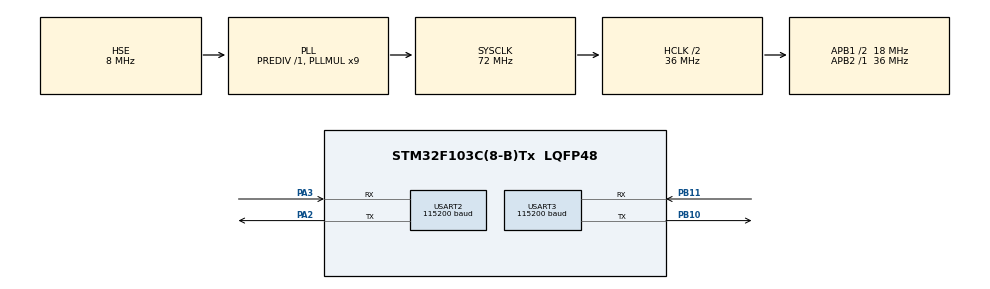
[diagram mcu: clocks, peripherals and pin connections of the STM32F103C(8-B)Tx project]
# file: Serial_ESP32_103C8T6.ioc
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Mcu.Family=STM32F1
Mcu.Name=STM32F103C(8-B)Tx
Mcu.Package=LQFP48
NVIC.PriorityGroup=NVIC_PRIORITYGROUP_4
NVIC.USART3_IRQn=true\:0\:0\:false\:false\:true\:true\:true\:true
PA13.Mode=Serial_Wire
PA13.Signal=SYS_JTMS-SWDIO
PA14.Mode=Serial_Wire
PA14.Signal=SYS_JTCK-SWCLK
PA2.Mode=Asynchronous
PA2.Signal=USART2_TX
PA3.Mode=Asynchronous
PA3.Signal=USART2_RX
PB10.Mode=Asynchronous
PB10.Signal=USART3_TX
PB11.Mode=Asynchronous
PB11.Signal=USART3_RX
PC14-OSC32_IN.Mode=LSE-External-Oscillator
PC14-OSC32_IN.Signal=RCC_OSC32_IN
PC15-OSC32_OUT.Mode=LSE-External-Oscillator
PC15-OSC32_OUT.Signal=RCC_OSC32_OUT
PD0-OSC_IN.Mode=HSE-External-Oscillator
PD0-OSC_IN.Signal=RCC_OSC_IN
PD1-OSC_OUT.Mode=HSE-External-Oscillator
PD1-OSC_OUT.Signal=RCC_OSC_OUT
ProjectManager.HeapSize=0x200
ProjectManager.StackSize=0x400
ProjectManager.TargetToolchain=STM32CubeIDE
RCC.AHBCLKDivider=RCC_SYSCLK_DIV2
RCC.AHBFreq_Value=36000000
RCC.APB1CLKDivider=RCC_HCLK_DIV2
RCC.APB1Freq_Value=18000000
RCC.APB1TimFreq_Value=36000000
RCC.APB2Freq_Value=36000000
RCC.APB2TimFreq_Value=36000000
RCC.HCLKFreq_Value=36000000
RCC.PLLMUL=RCC_PLL_MUL9
RCC.PLLSourceVirtual=RCC_PLLSOURCE_HSE
RCC.SYSCLKFreq_VALUE=72000000
RCC.SYSCLKSource=RCC_SYSCLKSOURCE_PLLCLK
RCC.USBFreq_Value=72000000
USART2.BaudRate=115200
USART2.VirtualMode=VM_ASYNC
USART3.BaudRate=115200
USART3.Mode=MODE_TX_RX
USART3.VirtualMode=VM_ASYNC
board=custom

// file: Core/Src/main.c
/* USER CODE BEGIN Header */
/**
 ******************************************************************************
 * @file           : main.c
 * @brief          : Main program body
 ******************************************************************************
 * @attention
 *
 * Copyright (c) 2025 STMicroelectronics.
 * All rights reserved.
 *
 * This software is licensed under terms that can be found in the LICENSE file
 * in the root directory of this software component.
 * If no LICENSE file comes with this software, it is provided AS-IS.
 *
 ******************************************************************************
 */
/* USER CODE END Header */
#include "main.h"

/* USER CODE BEGIN Includes */
#include<string.h>
#include<stdio.h>
#include "stm32f1xx_hal.h"
#include "stm32f1xx_hal_gpio_ex.h"
#include "stm32f1xx_hal_rcc_ex.h"
#include <stdint.h>
#include <stdlib.h>

/* USER CODE END Includes */

UART_HandleTypeDef huart2;
UART_HandleTypeDef huart3;

/* USER CODE BEGIN PV */
#define RBUF_SIZE 256
volatile uint8_t rbuf[RBUF_SIZE];
volatile uint16_t rhead = 0, rtail = 0;

uint8_t rx3_byte;
uint8_t c;
char line[32];
uint8_t idx = 0;
/* USER CODE END PV */

void SystemClock_Config(void);
static void MX_GPIO_Init(void);
static void MX_USART2_UART_Init(void);
static void MX_USART3_UART_Init(void);
void Error_Handler(void);

/* USER CODE BEGIN 0 */

static inline void rbuf_push(uint8_t b) {
	uint16_t next = (rhead + 1) & (RBUF_SIZE - 1);
	if (next != rtail) {
		rbuf[rhead] = b;
		rhead = next;
	}
}

/* Pop from main */
static inline int rbuf_pop(uint8_t *out) {
	if (rtail == rhead)
		return 0;
	*out = rbuf[rtail];
	rtail = (rtail + 1) & (RBUF_SIZE - 1);
	return 1;
}

/* UART3 RX complete callback */
void HAL_UART_RxCpltCallback(UART_HandleTypeDef *huart) {
	if (huart->Instance == USART3) {
		rbuf_push(rx3_byte);
		HAL_UART_Receive_IT(&huart3, &rx3_byte, 1);
	}
}

/* Send string to ESP32 */
void UART3_Send(char *s) {
	HAL_UART_Transmit(&huart3, (uint8_t*) s, strlen(s), HAL_MAX_DELAY);
}

/* USER CODE END 0 */

int main(void) {

	/* MCU Configuration--------------------------------------------------------*/

	/* Reset of all peripherals, Initializes the Flash interface and the Systick. */
	HAL_Init();

	/* USER CODE BEGIN Init */
	__HAL_RCC_AFIO_CLK_ENABLE();           // IMPORTANT
	// PB10/PB11 used
	/* USER CODE END Init */

	/* Configure the system clock */
	SystemClock_Config();

	/* Initialize all configured peripherals */
	MX_GPIO_Init();
	MX_USART2_UART_Init();
	MX_USART3_UART_Init();
	/* USER CODE BEGIN 2 */
	HAL_UART_Receive_IT(&huart3, &rx3_byte, 1);

	HAL_UART_Transmit(&huart2, (uint8_t*) "STM32 Ready UART3\r\n", 19,
	HAL_MAX_DELAY);
	/* USER CODE END 2 */

	/* Infinite loop */
	while (1) {

		/* USER CODE BEGIN 3 */
		while (rbuf_pop(&c)) {
			if (c == '\n') {
				line[idx] = 0;
				idx = 0;

				if (strncmp(line, "BTN:", 4) == 0) {
					int btn = atoi(&line[4]);

					char msg[32];
					sprintf(msg, "Button %d Pressed\r\n", btn);

					UART3_Send(msg);                       // to ESP32
					HAL_UART_Transmit(&huart2, (uint8_t*) msg, strlen(msg),
							HAL_MAX_DELAY);
				}
			} else if (c != '\r' && idx < sizeof(line) - 1) {
				line[idx++] = c;
			}
		}

		HAL_Delay(1);

	}
	/* USER CODE END 3 */
}

void SystemClock_Config(void) {
	RCC_OscInitTypeDef RCC_OscInitStruct = { 0 };
	RCC_ClkInitTypeDef RCC_ClkInitStruct = { 0 };

	/** Initializes the RCC Oscillators according to the specified parameters
	 * in the RCC_OscInitTypeDef structure.
	 */
	RCC_OscInitStruct.OscillatorType = RCC_OSCILLATORTYPE_HSE;
	RCC_OscInitStruct.HSEState = RCC_HSE_ON;
	RCC_OscInitStruct.HSEPredivValue = RCC_HSE_PREDIV_DIV1;
	RCC_OscInitStruct.HSIState = RCC_HSI_ON;
	RCC_OscInitStruct.PLL.PLLState = RCC_PLL_ON;
	RCC_OscInitStruct.PLL.PLLSource = RCC_PLLSOURCE_HSE;
	RCC_OscInitStruct.PLL.PLLMUL = RCC_PLL_MUL9;
	if (HAL_RCC_OscConfig(&RCC_OscInitStruct) != HAL_OK) {
		Error_Handler();
	}

	/** Initializes the CPU, AHB and APB buses clocks
	 */
	RCC_ClkInitStruct.ClockType = RCC_CLOCKTYPE_HCLK | RCC_CLOCKTYPE_SYSCLK
			| RCC_CLOCKTYPE_PCLK1 | RCC_CLOCKTYPE_PCLK2;
	RCC_ClkInitStruct.SYSCLKSource = RCC_SYSCLKSOURCE_PLLCLK;
	RCC_ClkInitStruct.AHBCLKDivider = RCC_SYSCLK_DIV2;
	RCC_ClkInitStruct.APB1CLKDivider = RCC_HCLK_DIV2;
	RCC_ClkInitStruct.APB2CLKDivider = RCC_HCLK_DIV1;

	if (HAL_RCC_ClockConfig(&RCC_ClkInitStruct, FLASH_LATENCY_2) != HAL_OK) {
		Error_Handler();
	}
}

static void MX_USART2_UART_Init(void) {

	huart2.Instance = USART2;
	huart2.Init.BaudRate = 115200;
	huart2.Init.WordLength = UART_WORDLENGTH_8B;
	huart2.Init.StopBits = UART_STOPBITS_1;
	huart2.Init.Parity = UART_PARITY_NONE;
	huart2.Init.Mode = UART_MODE_TX_RX;
	huart2.Init.HwFlowCtl = UART_HWCONTROL_NONE;
	huart2.Init.OverSampling = UART_OVERSAMPLING_16;
	if (HAL_UART_Init(&huart2) != HAL_OK) {
		Error_Handler();
	}

}

static void MX_USART3_UART_Init(void) {

	huart3.Instance = USART3;
	huart3.Init.BaudRate = 115200;
	huart3.Init.WordLength = UART_WORDLENGTH_8B;
	huart3.Init.StopBits = UART_STOPBITS_1;
	huart3.Init.Parity = UART_PARITY_NONE;
	huart3.Init.Mode = UART_MODE_TX_RX;
	huart3.Init.HwFlowCtl = UART_HWCONTROL_NONE;
	huart3.Init.OverSampling = UART_OVERSAMPLING_16;
	if (HAL_UART_Init(&huart3) != HAL_OK) {
		Error_Handler();
	}

}

static void MX_GPIO_Init(void) {

	/* GPIO Ports Clock Enable */
	__HAL_RCC_GPIOC_CLK_ENABLE();
	__HAL_RCC_GPIOD_CLK_ENABLE();
	__HAL_RCC_GPIOA_CLK_ENABLE();
	__HAL_RCC_GPIOB_CLK_ENABLE();

}

void Error_Handler(void) {
	__disable_irq();
	while (1) {
	}
}
